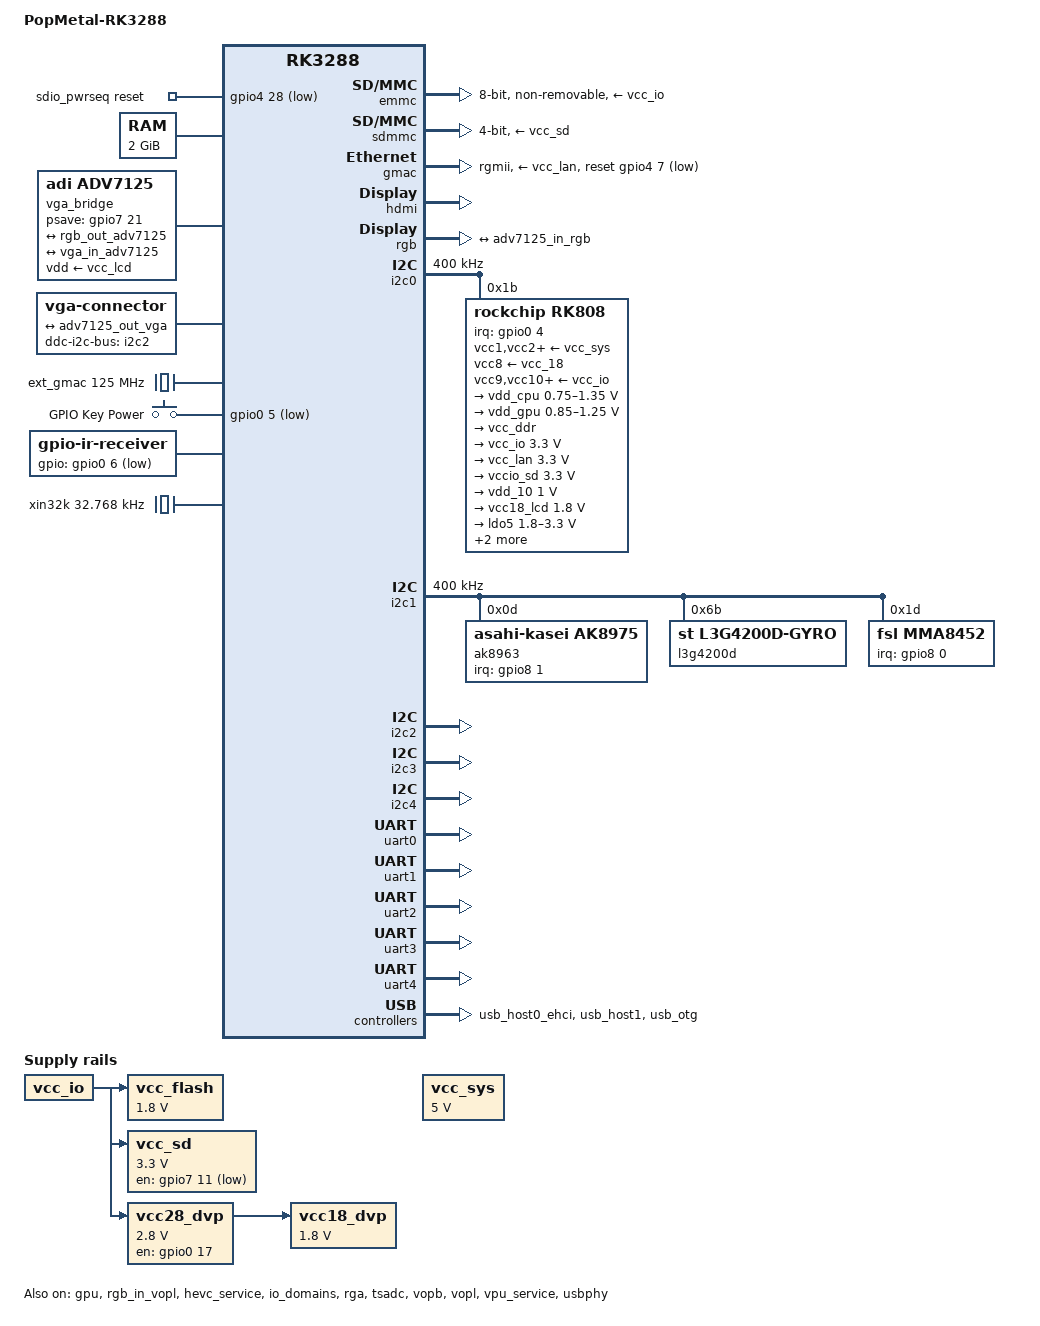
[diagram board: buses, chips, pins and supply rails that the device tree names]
/*
 * Copyright (c) 2016, 2017 Jerry Xu <Jerry.xu@rock-chips.com>
 *
 * This file is dual-licensed: you can use it either under the terms
 * of the GPL or the X11 license, at your option. Note that this dual
 * licensing only applies to this file, and not this project as a
 * whole.
 *
 *  a) This file is free software; you can redistribute it and/or
 *     modify it under the terms of the GNU General Public License as
 *     published by the Free Software Foundation; either version 2 of the
 *     License, or (at your option) any later version.
 *
 *     This file is distributed in the hope that it will be useful,
 *     but WITHOUT ANY WARRANTY; without even the implied warranty of
 *     MERCHANTABILITY or FITNESS FOR A PARTICULAR PURPOSE.  See the
 *     GNU General Public License for more details.
 *
 *  Or, alternatively,
 *
 *  b) Permission is hereby granted, free of charge, to any person
 *     obtaining a copy of this software and associated documentation
 *     files (the "Software"), to deal in the Software without
 *     restriction, including without limitation the rights to use,
 *     copy, modify, merge, publish, distribute, sublicense, and/or
 *     sell copies of the Software, and to permit persons to whom the
 *     Software is furnished to do so, subject to the following
 *     conditions:
 *
 *     The above copyright notice and this permission notice shall be
 *     included in all copies or substantial portions of the Software.
 *
 *     THE SOFTWARE IS PROVIDED "AS IS", WITHOUT WARRANTY OF ANY KIND,
 *     EXPRESS OR IMPLIED, INCLUDING BUT NOT LIMITED TO THE WARRANTIES
 *     OF MERCHANTABILITY, FITNESS FOR A PARTICULAR PURPOSE AND
 *     NONINFRINGEMENT. IN NO EVENT SHALL THE AUTHORS OR COPYRIGHT
 *     HOLDERS BE LIABLE FOR ANY CLAIM, DAMAGES OR OTHER LIABILITY,
 *     WHETHER IN AN ACTION OF CONTRACT, TORT OR OTHERWISE, ARISING
 *     FROM, OUT OF OR IN CONNECTION WITH THE SOFTWARE OR THE USE OR
 *     OTHER DEALINGS IN THE SOFTWARE.
 */

/dts-v1/;

#include "rk3288-evb.dtsi"
#include "rk3288-android.dtsi"

/ {
	model = "PopMetal-RK3288";
	compatible = "chipspark,popmetal-rk3288", "rockchip,rk3288";

	sdio_pwrseq: sdio-pwrseq {
		compatible = "mmc-pwrseq-simple";
		clocks = <&rk808 1>;
		clock-names = "ext_clock";

		/*
		 * On the module itself this is one of these (depending
		 * on the actual card populated):
		 * - SDIO_RESET_L_WL_REG_ON
		 * - PDN (power down when low)
		 */
		reset-gpios = <&gpio4 28 GPIO_ACTIVE_LOW>;
	};

	wireless-bluetooth {
		clocks = <&rk808 1>;
		clock-names = "ext_clock";
	};

	memory@0 {
		device_type = "memory";
		reg = <0x0 0x0 0x0 0x80000000>;
	};

	vga_bridge: vga-bridge {
		compatible = "adi,adv7125";
		psave-gpios = <&gpio7 21 GPIO_ACTIVE_HIGH>;
		vdd-supply = <&vcc_lcd>;
		#address-cells = <1>;
		#size-cells = <0>;

		ports {
			#address-cells = <1>;
			#size-cells = <0>;

			port@0 {
				reg = <0>;

				adv7125_in_rgb: endpoint {
					remote-endpoint = <&rgb_out_adv7125>;
				};
			};

			port@1 {
				reg = <1>;

				adv7125_out_vga: endpoint {
					remote-endpoint = <&vga_in_adv7125>;
				};
			};
		};
	};

	vga {
		compatible = "vga-connector";
		ddc-i2c-bus = <&i2c2>;

		port {
			vga_in_adv7125: endpoint {
				remote-endpoint = <&adv7125_out_vga>;
			};
		};
	};

	ext_gmac: external-gmac-clock {
		compatible = "fixed-clock";
		clock-frequency = <125000000>;
		clock-output-names = "ext_gmac";
		#clock-cells = <0>;
	};

	gpio-keys {
		compatible = "gpio-keys";
		#address-cells = <1>;
		#size-cells = <0>;
		autorepeat;

		pinctrl-names = "default";
		pinctrl-0 = <&pwrbtn>;

		button@0 {
			gpios = <&gpio0 5 GPIO_ACTIVE_LOW>;
			linux,code = <116>;
			label = "GPIO Key Power";
			linux,input-type = <1>;
			gpio-key,wakeup = <1>;
			debounce-interval = <100>;
		};
	};

	ir: ir-receiver {
		compatible = "gpio-ir-receiver";
		gpios = <&gpio0 6 GPIO_ACTIVE_LOW>;
		pinctrl-names = "default";
		pinctrl-0 = <&ir_int>;
	};

	vcc_flash: flash-regulator {
		compatible = "regulator-fixed";
		regulator-name = "vcc_flash";
		regulator-min-microvolt = <1800000>;
		regulator-max-microvolt = <1800000>;
		vin-supply = <&vcc_io>;
	};

	vcc_sd: sdmmc-regulator {
		compatible = "regulator-fixed";
		gpio = <&gpio7 11 GPIO_ACTIVE_LOW>;
		pinctrl-names = "default";
		pinctrl-0 = <&sdmmc_pwr>;
		regulator-name = "vcc_sd";
		regulator-min-microvolt = <3300000>;
		regulator-max-microvolt = <3300000>;
		startup-delay-us = <100000>;
		vin-supply = <&vcc_io>;
	};

	vcc_sys: vsys-regulator {
		compatible = "regulator-fixed";
		regulator-name = "vcc_sys";
		regulator-min-microvolt = <5000000>;
		regulator-max-microvolt = <5000000>;
		regulator-always-on;
		regulator-boot-on;
	};

	/*
	 * A PT5128 creates both dovdd_1v8 and vcc28_dvp, controlled
	 * by the dvp_pwr pin.
	 */
	vcc18_dvp: vcc18-dvp-regulator {
		compatible = "regulator-fixed";
		regulator-name = "vcc18-dvp";
		regulator-min-microvolt = <1800000>;
		regulator-max-microvolt = <1800000>;
		vin-supply = <&vcc28_dvp>;
	};

	vcc28_dvp: vcc28-dvp-regulator {
		compatible = "regulator-fixed";
		enable-active-high;
		gpio = <&gpio0 17 GPIO_ACTIVE_HIGH>;
		pinctrl-names = "default";
		pinctrl-0 = <&dvp_pwr>;
		regulator-name = "vcc28_dvp";
		regulator-min-microvolt = <2800000>;
		regulator-max-microvolt = <2800000>;
		regulator-always-on;
		vin-supply = <&vcc_io>;
	};

	xin32k: xin32k {
		compatible = "fixed-clock";
		clock-frequency = <32768>;
		clock-output-names = "xin32k";
		#clock-cells = <0>;
	};
};

&cpu0 {
	cpu0-supply = <&vdd_cpu>;
};

&emmc {
	bus-width = <8>;
	cap-mmc-highspeed;
	disable-wp;
	non-removable;
	num-slots = <1>;
	pinctrl-names = "default";
	pinctrl-0 = <&emmc_clk &emmc_cmd &emmc_pwr &emmc_bus8>;
	vmmc-supply = <&vcc_io>;
	vqmmc-supply = <&vcc_flash>;
	status = "okay";
};

&sdmmc {
	bus-width = <4>;
	cap-mmc-highspeed;
	cap-sd-highspeed;
	card-detect-delay = <200>;
	disable-wp;                     /* wp not hooked up */
	num-slots = <1>;
	pinctrl-names = "default";
	pinctrl-0 = <&sdmmc_clk &sdmmc_cmd &sdmmc_cd &sdmmc_bus4>;
	vmmc-supply = <&vcc_sd>;
	vqmmc-supply = <&vccio_sd>;
	status = "okay";
	supports-sd;
};

&gmac {
	phy-supply = <&vcc_lan>;
	phy-mode = "rgmii";
	clock_in_out = "input";
	snps,reset-gpio = <&gpio4 7 0>;
	snps,reset-active-low;
	snps,reset-delays-us = <0 10000 1000000>;
	assigned-clocks = <&cru SCLK_MAC>;
	assigned-clock-parents = <&ext_gmac>;
	pinctrl-names = "default";
	pinctrl-0 = <&rgmii_pins>;
	tx_delay = <0x30>;
	rx_delay = <0x10>;
	status = "ok";
};

&gpu {
	mali-supply = <&vdd_gpu>;
	status = "okay";
};

&hdmi {
	status = "okay";
};

&rgb {
	status = "okay";

	ports {
		port@1 {
			reg = <1>;

			rgb_out_adv7125: endpoint {
				remote-endpoint = <&adv7125_in_rgb>;
			};
		};
	};
};

&rgb_in_vopl {
	status = "okay";
};

&rgb_in_vopb {
	status = "disabled";
};

&route_rgb {
	connect = <&vopl_out_rgb>;
	status = "disabled";
};

&hevc_service {
	status = "okay";
};

&i2c0 {
	status = "okay";
	clock-frequency = <400000>;

	rk808: pmic@1b {
		compatible = "rockchip,rk808";
		reg = <0x1b>;
		interrupt-parent = <&gpio0>;
		interrupts = <4 IRQ_TYPE_LEVEL_LOW>;
		pinctrl-names = "default";
		pinctrl-0 = <&pmic_int &global_pwroff>;
		rockchip,system-power-controller;
		wakeup-source;
		#clock-cells = <1>;
		clock-output-names = "rk808-clkout1", "rk808-clkout2";

		vcc1-supply = <&vcc_sys>;
		vcc2-supply = <&vcc_sys>;
		vcc3-supply = <&vcc_sys>;
		vcc4-supply = <&vcc_sys>;
		vcc6-supply = <&vcc_sys>;
		vcc7-supply = <&vcc_sys>;
		vcc8-supply = <&vcc_18>;
		vcc9-supply = <&vcc_io>;
		vcc10-supply = <&vcc_io>;
		vcc11-supply = <&vcc_sys>;
		vcc12-supply = <&vcc_io>;
		vddio-supply = <&vcc_io>;

		regulators {
			vdd_cpu: DCDC_REG1 {
				regulator-always-on;
				regulator-boot-on;
				regulator-min-microvolt = <750000>;
				regulator-max-microvolt = <1350000>;
				regulator-name = "vdd_arm";
				regulator-state-mem {
					regulator-off-in-suspend;
				};
			};

			vdd_gpu: DCDC_REG2 {
				regulator-always-on;
				regulator-boot-on;
				regulator-min-microvolt = <850000>;
				regulator-max-microvolt = <1250000>;
				regulator-name = "vdd_gpu";
				regulator-ramp-delay = <6000>;
				regulator-state-mem {
					regulator-on-in-suspend;
					regulator-suspend-microvolt = <1000000>;
				};
			};

			vcc_ddr: DCDC_REG3 {
				regulator-always-on;
				regulator-boot-on;
				regulator-name = "vcc_ddr";
				regulator-state-mem {
					regulator-on-in-suspend;
				};
			};

			vcc_io: DCDC_REG4 {
				regulator-always-on;
				regulator-boot-on;
				regulator-min-microvolt = <3300000>;
				regulator-max-microvolt = <3300000>;
				regulator-name = "vcc_io";
				regulator-state-mem {
					regulator-on-in-suspend;
					regulator-suspend-microvolt = <3300000>;
				};
			};

			vcc_lan: LDO_REG1 {
				regulator-always-on;
				regulator-boot-on;
				regulator-min-microvolt = <3300000>;
				regulator-max-microvolt = <3300000>;
				regulator-name = "vcc_lan";
				regulator-state-mem {
					regulator-on-in-suspend;
					regulator-suspend-microvolt = <3300000>;
				};
			};

			vccio_sd: LDO_REG2 {
				regulator-always-on;
				regulator-boot-on;
				regulator-min-microvolt = <3300000>;
				regulator-max-microvolt = <3300000>;
				regulator-name = "vccio_sd";
				regulator-state-mem {
					regulator-off-in-suspend;
				};
			};

			vdd_10: LDO_REG3 {
				regulator-always-on;
				regulator-boot-on;
				regulator-min-microvolt = <1000000>;
				regulator-max-microvolt = <1000000>;
				regulator-name = "vdd_10";
				regulator-state-mem {
					regulator-on-in-suspend;
					regulator-suspend-microvolt = <1000000>;
				};
			};

			vcc18_lcd: LDO_REG4 {
				regulator-always-on;
				regulator-boot-on;
				regulator-min-microvolt = <1800000>;
				regulator-max-microvolt = <1800000>;
				regulator-name = "vcc18_lcd";
				regulator-state-mem {
					regulator-on-in-suspend;
					regulator-suspend-microvolt = <1800000>;
				};
			};

			ldo5: LDO_REG5 {
				regulator-always-on;
				regulator-min-microvolt = <1800000>;
				regulator-max-microvolt = <3300000>;
				regulator-name = "ldo5";
			};

			vdd10_lcd: LDO_REG6 {
				regulator-always-on;
				regulator-boot-on;
				regulator-min-microvolt = <1000000>;
				regulator-max-microvolt = <1000000>;
				regulator-name = "vdd10_lcd";
				regulator-state-mem {
					regulator-on-in-suspend;
					regulator-suspend-microvolt = <1000000>;
				};
			};

			vcc_18: LDO_REG7 {
				regulator-always-on;
				regulator-boot-on;
				regulator-min-microvolt = <1800000>;
				regulator-max-microvolt = <1800000>;
				regulator-name = "vcc_18";
				regulator-state-mem {
					regulator-on-in-suspend;
					regulator-suspend-microvolt = <1800000>;
				};
			};

			vcca_33: LDO_REG8 {
				regulator-always-on;
				regulator-boot-on;
				regulator-min-microvolt = <3300000>;
				regulator-max-microvolt = <3300000>;
				regulator-name = "vcca_33";
				regulator-state-mem {
					regulator-on-in-suspend;
					regulator-suspend-microvolt = <3300000>;
				};
			};

			vccio_wl: SWITCH_REG1 {
				regulator-always-on;
				regulator-boot-on;
				regulator-name = "vccio_wl";
				regulator-state-mem {
					regulator-on-in-suspend;
				};
			};

			vcc_lcd: SWITCH_REG2 {
				regulator-always-on;
				regulator-boot-on;
				regulator-name = "vcc_lcd";
				regulator-state-mem {
					regulator-on-in-suspend;
				};
			};
		};
	};
};

&i2c1 {
	status = "okay";
	clock-frequency = <400000>;

	ak8963: ak8963@0d {
		compatible = "asahi-kasei,ak8975";
		reg = <0x0d>;
		interrupt-parent = <&gpio8>;
		interrupts = <1 IRQ_TYPE_EDGE_RISING>;
		pinctrl-names = "default";
		pinctrl-0 = <&comp_int>;
	};

	l3g4200d: l3g4200d@68 {
		compatible = "st,l3g4200d-gyro";
		st,drdy-int-pin = <2>;
		reg = <0x6b>;
	};

	mma8452: mma8452@1d {
		compatible = "fsl,mma8452";
		reg = <0x1d>;
		interrupt-parent = <&gpio8>;
		interrupts = <0 IRQ_TYPE_EDGE_RISING>;
		pinctrl-names = "default";
		pinctrl-0 = <&gsensor_int>;
	};
};

&i2c2 {
	status = "okay";
};

&i2c3 {
	status = "okay";
};

&i2c4 {
	status = "okay";
};

&io_domains {
	status = "okay";

	audio-supply = <&vcca_33>;
	bb-supply = <&vcc_io>;
	dvp-supply = <&vcc18_dvp>;
	flash0-supply = <&vcc_flash>;
	flash1-supply = <&vcc_lan>;
	gpio30-supply = <&vcc_io>;
	gpio1830-supply = <&vcc_io>;
	lcdc-supply = <&vcc_io>;
	sdcard-supply = <&vccio_sd>;
	wifi-supply = <&vccio_wl>;
};

&rga {
	status = "okay";
};

&pinctrl {
	ak8963 {
		comp_int: comp-int {
			rockchip,pins = <8 1 RK_FUNC_GPIO &pcfg_pull_up>;
		};
	};

	buttons {
		pwrbtn: pwrbtn {
			rockchip,pins = <0 5 RK_FUNC_GPIO &pcfg_pull_up>;
		};
	};

	dvp {
		dvp_pwr: dvp-pwr {
			rockchip,pins = <0 17 RK_FUNC_GPIO &pcfg_pull_none>;
		};
	};

	ir {
		ir_int: ir-int {
			rockchip,pins = <0 6 RK_FUNC_GPIO &pcfg_pull_up>;
		};
	};

	mma8452 {
		gsensor_int: gsensor-int {
			rockchip,pins = <8 0 RK_FUNC_GPIO &pcfg_pull_up>;
		};
	};

	pmic {
		pmic_int: pmic-int {
			rockchip,pins = <RK_GPIO0 4 RK_FUNC_GPIO &pcfg_pull_up>;
		};
	};

	sdmmc {
		sdmmc_pwr: sdmmc-pwr {
			rockchip,pins = <7 11 RK_FUNC_GPIO &pcfg_pull_none>;
		};
	};
};

&tsadc {
	rockchip,hw-tshut-polarity = <0>;
	status = "okay";
};

&vopb {
	status = "okay";
};

&vopb_mmu {
	status = "okay";
};

&vopl {
	status = "okay";
};

&vopl_mmu {
	status = "okay";
};

&vpu_service {
	status = "okay";
};

&uart0 {
	status = "okay";
};

&uart1 {
	status = "okay";
};

&uart2 {
	status = "okay";
};

&uart3 {
	status = "okay";
};

&uart4 {
	status = "okay";
};

&usbphy {
	status = "okay";
};

&usb_host0_ehci {
	no-relinquish-port;
	status = "okay";
};

&usb_host1 {
	status = "okay";
};

&usb_otg {
	status= "okay";
};
